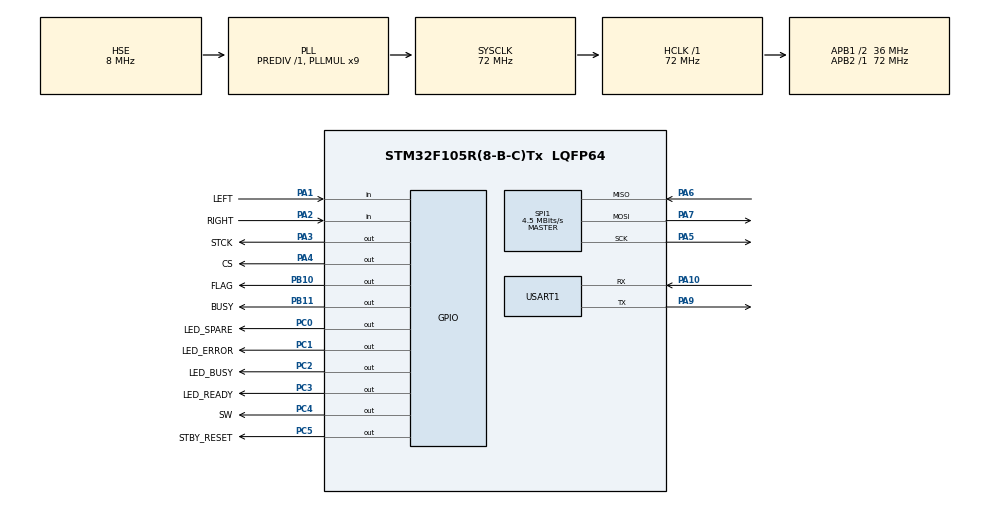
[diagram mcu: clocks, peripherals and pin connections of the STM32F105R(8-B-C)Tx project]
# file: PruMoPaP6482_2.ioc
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Mcu.Family=STM32F1
Mcu.Name=STM32F105R(8-B-C)Tx
Mcu.Package=LQFP64
NVIC.PriorityGroup=NVIC_PRIORITYGROUP_4
NVIC.SPI1_IRQn=true\:0\:0\:false\:false\:true\:true\:true\:true
PA1.GPIO_Label=LEFT
PA1.Signal=GPIO_Input
PA10.Mode=Asynchronous
PA10.Signal=USART1_RX
PA13.Mode=JTAG_4_pins
PA13.Signal=SYS_JTMS-SWDIO
PA14.Mode=JTAG_4_pins
PA14.Signal=SYS_JTCK-SWCLK
PA15.Mode=JTAG_4_pins
PA15.Signal=SYS_JTDI
PA2.GPIO_Label=RIGHT
PA2.Signal=GPIO_Input
PA3.GPIO_Label=STCK
PA3.Signal=GPIO_Output
PA4.GPIO_Label=CS
PA4.Signal=GPIO_Output
PA5.Mode=Full_Duplex_Master
PA5.Signal=SPI1_SCK
PA6.Mode=Full_Duplex_Master
PA6.Signal=SPI1_MISO
PA7.Mode=Full_Duplex_Master
PA7.Signal=SPI1_MOSI
PA9.Mode=Asynchronous
PA9.Signal=USART1_TX
PB10.GPIO_Label=FLAG
PB10.Signal=GPIO_Output
PB11.GPIO_Label=BUSY
PB11.Signal=GPIO_Output
PB3.Mode=JTAG_4_pins
PB3.Signal=SYS_JTDO
PC0.GPIO_Label=LED_SPARE
PC0.Signal=GPIO_Output
PC1.GPIO_Label=LED_ERROR
PC1.Signal=GPIO_Output
PC2.GPIO_Label=LED_BUSY
PC2.Signal=GPIO_Output
PC3.GPIO_Label=LED_READY
PC3.Signal=GPIO_Output
PC4.GPIO_Label=SW
PC4.Signal=GPIO_Output
PC5.GPIO_Label=STBY_RESET
PC5.Signal=GPIO_Output
PD0-OSC_IN.Mode=HSE-External-Oscillator
PD0-OSC_IN.Signal=RCC_OSC_IN
PD1-OSC_OUT.Mode=HSE-External-Oscillator
PD1-OSC_OUT.Signal=RCC_OSC_OUT
ProjectManager.HeapSize=0x200
ProjectManager.StackSize=0x400
ProjectManager.TargetToolchain=STM32CubeIDE
RCC.AHBFreq_Value=72000000
RCC.APB1CLKDivider=RCC_HCLK_DIV2
RCC.APB1Freq_Value=36000000
RCC.APB1TimFreq_Value=72000000
RCC.APB2Freq_Value=72000000
RCC.APB2TimFreq_Value=72000000
RCC.HCLKFreq_Value=72000000
RCC.PLLMUL=RCC_PLL_MUL9
RCC.PLLSourceVirtual=RCC_PLLSOURCE_HSE
RCC.SYSCLKFreq_VALUE=72000000
RCC.SYSCLKSource=RCC_SYSCLKSOURCE_PLLCLK
RCC.USBFreq_Value=48000000
SPI1.BaudRatePrescaler=SPI_BAUDRATEPRESCALER_16
SPI1.CLKPhase=SPI_PHASE_2EDGE
SPI1.CLKPolarity=SPI_POLARITY_HIGH
SPI1.CRCCalculation=SPI_CRCCALCULATION_DISABLE
SPI1.CalculateBaudRate=4.5 MBits/s
SPI1.Direction=SPI_DIRECTION_2LINES
SPI1.Mode=SPI_MODE_MASTER
SPI1.VirtualType=VM_MASTER
USART1.VirtualMode=VM_ASYNC
board=custom

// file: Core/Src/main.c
/* USER CODE BEGIN Header */
/**
  ******************************************************************************
  * @file           : main.c
  * @brief          : Main program body
  ******************************************************************************
  * @attention
  *
  * Copyright (c) 2023 STMicroelectronics.
  * All rights reserved.
  *
  * This software is licensed under terms that can be found in the LICENSE file
  * in the root directory of this software component.
  * If no LICENSE file comes with this software, it is provided AS-IS.
  *
  ******************************************************************************
  */
/* USER CODE END Header */
#include "main.h"

SPI_HandleTypeDef hspi1;

UART_HandleTypeDef huart1;

/* USER CODE BEGIN PV */
uint8_t estado_rx;
uint8_t estado_spi_tx;
uint8_t rx_buffer[]={0};
uint8_t get_st[]={0};

uint8_t param[1]={0};
uint8_t value[3]={0};
/* USER CODE END PV */

void SystemClock_Config(void);
static void MX_GPIO_Init(void);
static void MX_SPI1_Init(void);
static void MX_USART1_UART_Init(void);
/* USER CODE BEGIN PFP */
uint8_t* recibir ();
uint8_t* get_status();
void enviar (uint8_t* param, uint8_t* value, uint16_t nbp, uint16_t nbv);
/* USER CODE END PFP */

int main(void)
{

  /* MCU Configuration--------------------------------------------------------*/

  /* Reset of all peripherals, Initializes the Flash interface and the Systick. */
  HAL_Init();

  /* Configure the system clock */
  SystemClock_Config();

  /* Initialize all configured peripherals */
  MX_GPIO_Init();
  MX_SPI1_Init();
  MX_USART1_UART_Init();

  /* Infinite loop */
  /* USER CODE BEGIN WHILE */
   uint32_t pasos = 60000;
   uint8_t fwd = 1;
   //uint8_t move = 0x64;

   double acc = 2008, dec = 2008, max_speed = 992, fs_spd = 15625;
   uint8_t min_speed = 0, tboost = 0, tcc = 0b00000101, tdt = 1;
   uint8_t tval_hold = 0x00, tval_run = 0x00, tval_acc = 0x00, tval_dec = 0x00; //Regulación de torque configurada en todos los casos a 7.8mV
   uint8_t t_fast = 5;

   uint8_t ton_min = 3;
   uint8_t toff_min = 21;
   uint8_t ocd_th = 0x08;

   uint8_t step_sel = 0b00000111;
   uint8_t sync_sel = 0b00000101<<4;
   uint8_t step_mode = (0b10000000|sync_sel|0x08|step_sel);
   uint8_t el_pos = (step_mode | 0x00);

   uint8_t overcurrent=0x01, shutdown=0x02, th_warning=0x04, uvlo=0x08, adc_uvlo=0x10, turn_on=0x40, w_nperf_cmd=0x80;

   //Se pueden escoger que alarmas se activan o no, acá se activan todas.
   uint8_t alarm_en = (overcurrent | shutdown | th_warning | uvlo | adc_uvlo | turn_on | w_nperf_cmd);

   uint8_t wd_en = 0;
   uint8_t igate = 0x00;
   uint16_t gatecfg1 = (tcc|igate<<5|tboost<<8|wd_en<<11);
   uint8_t gatecfg2 = (tdt|0b00000001<<5);

   uint16_t osc_sel = 0x0000;
   uint16_t ext_clk = 0b00000000;
   uint16_t sw_mode = 0b00010000;
   uint16_t oc_sd = 0x0000; //Para el motor ante una detección de sobre corriente. 0x0000 para deshabilitarlo.
   uint16_t vcc_val= 0x0300;
   uint16_t uvloval = 0x0100;
   uint16_t tq_reg = 0x0000;
   uint16_t tsw = 0x02<<10;
   uint16_t pred_en = 0b1000000000000000;
   uint16_t config = (osc_sel | \
 		  	  	  	  	  ext_clk | \
 						  sw_mode | \
 						  vcc_val | \
 						  oc_sd | uvloval | tq_reg | tsw | pred_en);

  // uint8_t estado_spi_tx;

   //Configuraciones de los modos básicos en los registros:

   // 1. Posición absoluta:
   param[0] = 0x01;
   value[0] = 0x00;
   enviar (param, value, 1,1);

   // 2. Posición electrica:
   param[0] = (0x00|0x02);
   value[0] = el_pos;
   enviar (param, value, 1, 1);

   // 3. Marca
   param[0] = 0x03;
   value[3] = 0x00>>16;
   enviar (param, value, 1, 1);

   // 4. Aceleración
   param[0] = 0x05;
   value[0] = acc;
   enviar (param, value, 1, 2);

   // 5. Desaceleración
   param[0] = 0x06;
   value[0] = dec;
   enviar (param, value, 1, 2);

   // 6. Velocidad mínima
   param[0] = 0x07;
   value[0] = min_speed;
   enviar (param, value, 1, 1);

   // 7. Vel máxima
   param[0] = 0x08;
   value[0] = max_speed;
   enviar (param, value, 1, 2);

   // 8. Full-step speed
   param[0] = 0x15;
   value[0] = fs_spd;
   enviar (param, value, 1, 2);

   // 9. T_VALs
   param[0] = 0x09;
   value[0] = tval_hold;
   enviar (param, value, 1, 1);

   param[0] = 0x0A;
   value[0] = tval_run;
   enviar (param, value, 1, 1);

   param[0] = 0x0B;
   value[0] = tval_acc;
   enviar (param, value, 1, 1);

   param[0] = 0x0C;
   value[0] = tval_dec;
   enviar (param, value, 1, 1);

   // 10. Maximum fast decay time (TOFF_FAST) and the maximum fall step time (FALL_STEP) used by the current control system
   param[0] = 0x0E;
   value[0] = t_fast;
   enviar (param, value, 1, 1);

   // 11. Mínimo tiempo encendido, en ambos casos se configura con el máximo permitido.
   param[0] = 0x0F;
   value[0] = ton_min;
   enviar (param, value, 1, 1);

   // 12. Mínimo tiempo apagado
   param[0] = 0x10;
   value[0] = toff_min;
   enviar (param, value, 1, 1);

   // 13. Valor de umbral de sobre corriente
   param[0] = 0x13;
   value[0] = ocd_th;
   enviar (param, value, 1, 1);

   // 14. Step mode
    param[0] = 0x16;
    value[0] = step_mode;
    enviar (param, value, 1, 1);

    // 15. Habilitación de alarmas
    param[0] = 0x17;
    value[0] = alarm_en;
    enviar (param, value, 1, 1);

   // 16. GATECFG1
   param[0] = 0x18;
   value[0] = gatecfg1;
   enviar (param, value, 1, 2);

   // 17. GATECFG2
   param[0] = 0x19;
   value[0] = gatecfg2;
   enviar (param, value, 1, 1);

   // 18. Config
   param[0] = 0x1A;
   value[0] = config;
   enviar (param, value, 1, 2);

   while (1)
   {

	  uint8_t direction[1] = {0};
	  uint8_t speed[3] = {0};

	  direction [0] = (0x68 | fwd);
 	  speed [0] = pasos >> 16;
 	  speed [1] = pasos >> 8;
 	  speed [2] = pasos;

 	  enviar (direction, speed, 1, 3);

 	  //GetParam Registro Config
 	   param[0] = (0b00100000 | 0x1A);
 	   value[0] = config;
 	   enviar (param, value, 1, 2);
 	   recibir ();
 	   HAL_Delay(400);
 	   get_status();

// 	  // Mover motor hacia adelante por 5s
// 	  HAL_GPIO_WritePin(CS_GPIO_Port, CS_Pin, 0);
// 	  //Se envía la dirección: 1 FW, 0 BW
// 	  HAL_SPI_Transmit(&hspi1, (uint8_t*) direction, 1, 500);
// 	  //Se envía el comando
// 	 // while(1)
// 	 // {
// 	  HAL_SPI_Transmit(&hspi1, (uint8_t*) speed, 3, 500);
// 	 // }
// 	  HAL_GPIO_WritePin(CS_GPIO_Port, CS_Pin, 1);

// 	  HAL_Delay (3000);

 	 /* //Detener motor
 	  comand [0] = 0xB0;
 	  HAL_GPIO_WritePin(CS_GPIO_Port, CS_Pin, 0);
 	  estado_spi_tx= HAL_SPI_Transmit(&hspi1, (uint8_t*) comand, 1, 500);
 	  if (estado_spi_tx==HAL_OK) HAL_GPIO_WritePin(LED_READY_GPIO_Port, LED_READY_Pin, 1);
 	  else HAL_GPIO_WritePin(LED_ERROR_GPIO_Port, LED_ERROR_Pin, 1);
 	  HAL_GPIO_WritePin(CS_GPIO_Port, CS_Pin, 1);

 	  recibir ();
 	  estado_rx = HAL_UART_Transmit(&huart1, rx_buffer, 3, 500);
 	 // sprintf (rx_buffer, "Valor recibido: %u,\n\r", estado_rx);
 	  if (estado_rx==HAL_OK) HAL_GPIO_WritePin(LED_BUSY_GPIO_Port, LED_BUSY_Pin, 1);
 	  else HAL_GPIO_WritePin(LED_SPARE_GPIO_Port, LED_SPARE_Pin, 1);
 	  HAL_Delay (1000);

 	  HAL_GPIO_WritePin(LED_ERROR_GPIO_Port, LED_ERROR_Pin, 0);
 	  HAL_GPIO_WritePin(LED_READY_GPIO_Port, LED_READY_Pin, 0);
 	  HAL_GPIO_WritePin(LED_BUSY_GPIO_Port, LED_BUSY_Pin, 0);
 	  HAL_GPIO_WritePin(LED_SPARE_GPIO_Port, LED_SPARE_Pin, 0);
 	  HAL_Delay (1000);*/
    /* USER CODE END WHILE */

  }
}

void SystemClock_Config(void)
{
  RCC_OscInitTypeDef RCC_OscInitStruct = {0};
  RCC_ClkInitTypeDef RCC_ClkInitStruct = {0};

  /** Initializes the RCC Oscillators according to the specified parameters
  * in the RCC_OscInitTypeDef structure.
  */
  RCC_OscInitStruct.OscillatorType = RCC_OSCILLATORTYPE_HSE;
  RCC_OscInitStruct.HSEState = RCC_HSE_ON;
  RCC_OscInitStruct.HSEPredivValue = RCC_HSE_PREDIV_DIV1;
  RCC_OscInitStruct.HSIState = RCC_HSI_ON;
  RCC_OscInitStruct.Prediv1Source = RCC_PREDIV1_SOURCE_HSE;
  RCC_OscInitStruct.PLL.PLLState = RCC_PLL_ON;
  RCC_OscInitStruct.PLL.PLLSource = RCC_PLLSOURCE_HSE;
  RCC_OscInitStruct.PLL.PLLMUL = RCC_PLL_MUL9;
  RCC_OscInitStruct.PLL2.PLL2State = RCC_PLL_NONE;
  if (HAL_RCC_OscConfig(&RCC_OscInitStruct) != HAL_OK)
  {
    Error_Handler();
  }

  /** Initializes the CPU, AHB and APB buses clocks
  */
  RCC_ClkInitStruct.ClockType = RCC_CLOCKTYPE_HCLK|RCC_CLOCKTYPE_SYSCLK
                              |RCC_CLOCKTYPE_PCLK1|RCC_CLOCKTYPE_PCLK2;
  RCC_ClkInitStruct.SYSCLKSource = RCC_SYSCLKSOURCE_PLLCLK;
  RCC_ClkInitStruct.AHBCLKDivider = RCC_SYSCLK_DIV1;
  RCC_ClkInitStruct.APB1CLKDivider = RCC_HCLK_DIV2;
  RCC_ClkInitStruct.APB2CLKDivider = RCC_HCLK_DIV1;

  if (HAL_RCC_ClockConfig(&RCC_ClkInitStruct, FLASH_LATENCY_2) != HAL_OK)
  {
    Error_Handler();
  }

  /** Configure the Systick interrupt time
  */
  __HAL_RCC_PLLI2S_ENABLE();
}

static void MX_SPI1_Init(void)
{

  /* SPI1 parameter configuration*/
  hspi1.Instance = SPI1;
  hspi1.Init.Mode = SPI_MODE_MASTER;
  hspi1.Init.Direction = SPI_DIRECTION_2LINES;
  hspi1.Init.DataSize = SPI_DATASIZE_8BIT;
  hspi1.Init.CLKPolarity = SPI_POLARITY_LOW;
  hspi1.Init.CLKPhase = SPI_PHASE_2EDGE;
  hspi1.Init.NSS = SPI_NSS_SOFT;
  hspi1.Init.BaudRatePrescaler = SPI_BAUDRATEPRESCALER_16;
  hspi1.Init.FirstBit = SPI_FIRSTBIT_MSB;
  hspi1.Init.TIMode = SPI_TIMODE_DISABLE;
  hspi1.Init.CRCCalculation = SPI_CRCCALCULATION_DISABLE;
  hspi1.Init.CRCPolynomial = 7;
  if (HAL_SPI_Init(&hspi1) != HAL_OK)
  {
    Error_Handler();
  }

}

static void MX_USART1_UART_Init(void)
{

  huart1.Instance = USART1;
  huart1.Init.BaudRate = 115200;
  huart1.Init.WordLength = UART_WORDLENGTH_8B;
  huart1.Init.StopBits = UART_STOPBITS_1;
  huart1.Init.Parity = UART_PARITY_NONE;
  huart1.Init.Mode = UART_MODE_TX_RX;
  huart1.Init.HwFlowCtl = UART_HWCONTROL_NONE;
  huart1.Init.OverSampling = UART_OVERSAMPLING_16;
  if (HAL_UART_Init(&huart1) != HAL_OK)
  {
    Error_Handler();
  }

}

static void MX_GPIO_Init(void)
{
  GPIO_InitTypeDef GPIO_InitStruct = {0};

  /* GPIO Ports Clock Enable */
  __HAL_RCC_GPIOD_CLK_ENABLE();
  __HAL_RCC_GPIOC_CLK_ENABLE();
  __HAL_RCC_GPIOA_CLK_ENABLE();
  __HAL_RCC_GPIOB_CLK_ENABLE();

  /*Configure GPIO pin Output Level */
  HAL_GPIO_WritePin(GPIOC, LED_SPARE_Pin|LED_ERROR_Pin|LED_BUSY_Pin|LED_READY_Pin
                          |SW_Pin|STBY_RESET_Pin, GPIO_PIN_RESET);

  /*Configure GPIO pin Output Level */
  HAL_GPIO_WritePin(GPIOA, STCK_Pin|CS_Pin, GPIO_PIN_RESET);

  /*Configure GPIO pin Output Level */
  HAL_GPIO_WritePin(GPIOB, FLAG_Pin|BUSY_Pin, GPIO_PIN_RESET);

  /*Configure GPIO pins : LED_SPARE_Pin LED_ERROR_Pin LED_BUSY_Pin LED_READY_Pin
                           SW_Pin STBY_RESET_Pin */
  GPIO_InitStruct.Pin = LED_SPARE_Pin|LED_ERROR_Pin|LED_BUSY_Pin|LED_READY_Pin
                          |SW_Pin|STBY_RESET_Pin;
  GPIO_InitStruct.Mode = GPIO_MODE_OUTPUT_PP;
  GPIO_InitStruct.Pull = GPIO_NOPULL;
  GPIO_InitStruct.Speed = GPIO_SPEED_FREQ_LOW;
  HAL_GPIO_Init(GPIOC, &GPIO_InitStruct);

  /*Configure GPIO pins : LEFT_Pin RIGHT_Pin */
  GPIO_InitStruct.Pin = LEFT_Pin|RIGHT_Pin;
  GPIO_InitStruct.Mode = GPIO_MODE_INPUT;
  GPIO_InitStruct.Pull = GPIO_NOPULL;
  HAL_GPIO_Init(GPIOA, &GPIO_InitStruct);

  /*Configure GPIO pins : STCK_Pin CS_Pin */
  GPIO_InitStruct.Pin = STCK_Pin|CS_Pin;
  GPIO_InitStruct.Mode = GPIO_MODE_OUTPUT_PP;
  GPIO_InitStruct.Pull = GPIO_NOPULL;
  GPIO_InitStruct.Speed = GPIO_SPEED_FREQ_LOW;
  HAL_GPIO_Init(GPIOA, &GPIO_InitStruct);

  /*Configure GPIO pins : FLAG_Pin BUSY_Pin */
  GPIO_InitStruct.Pin = FLAG_Pin|BUSY_Pin;
  GPIO_InitStruct.Mode = GPIO_MODE_OUTPUT_PP;
  GPIO_InitStruct.Pull = GPIO_NOPULL;
  GPIO_InitStruct.Speed = GPIO_SPEED_FREQ_LOW;
  HAL_GPIO_Init(GPIOB, &GPIO_InitStruct);

}

/* USER CODE BEGIN 4 */

void enviar (uint8_t* param, uint8_t* value, uint16_t nbp, uint16_t nbv)
{
	   HAL_GPIO_WritePin(CS_GPIO_Port, CS_Pin, 0);
	   HAL_SPI_Transmit(&hspi1, (uint8_t*) param, nbp, 500);
	   HAL_SPI_Transmit(&hspi1, (uint8_t*) value, nbv, 500);
	   HAL_GPIO_WritePin(CS_GPIO_Port, CS_Pin, 1);
}
uint8_t* recibir ()
{

	HAL_GPIO_WritePin(CS_GPIO_Port, CS_Pin, 0);
	estado_rx = HAL_SPI_Receive(&hspi1, rx_buffer, 3, 500);
	HAL_GPIO_WritePin(CS_GPIO_Port, CS_Pin, 1);
	return (uint8_t*) rx_buffer;
}

uint8_t* get_status()
{
	get_st[0] = 0b11010000;
	HAL_GPIO_WritePin(CS_GPIO_Port, CS_Pin, 0);
	estado_rx = HAL_SPI_Receive(&hspi1, rx_buffer, 3, 500);
	HAL_GPIO_WritePin(CS_GPIO_Port, CS_Pin, 1);
	return (uint8_t*) rx_buffer;
}

/* USER CODE END 4 */

void Error_Handler(void)
{
  __disable_irq();
  while (1)
  {
  }
}
